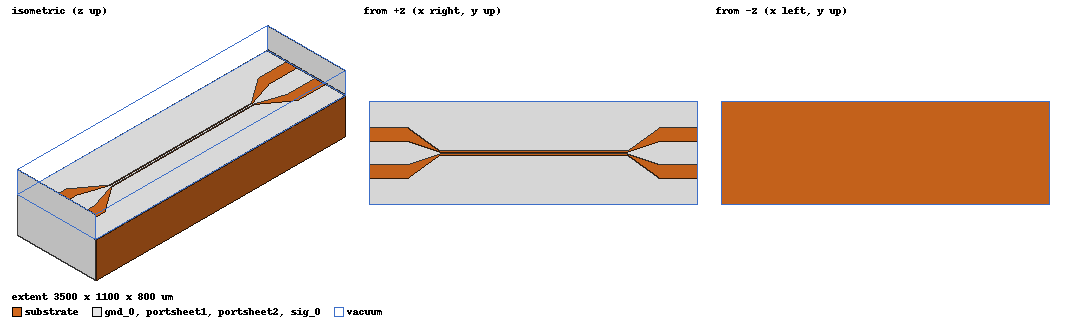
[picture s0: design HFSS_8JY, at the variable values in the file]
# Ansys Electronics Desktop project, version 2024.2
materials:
  vacuum: permittivity=1
  silicon_er1145: permittivity=11.45 permeability=1

design HFSS_8JY (HFSS, HFSS Modal Network, model units um)
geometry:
  substrate [silicon_er1145] = box(corner=(-1750um, -550um, -500um), size=(3500um, 1100um, 500um))
  vacuum [vacuum] = box(corner=(-1750um, -550um, 0um), size=(3500um, 1100um, 300um))
  sig_0 = polyline(z=0um, xy in um: (970, 10) (1000, 10) (1350, 125) (1750, 125) (1750, -125) (1350, -125) (1000, -10) (970, -10) (-970, -10) (-1000, -10) (-1350, -125) (-1750, -125) (-1750, 125) (-1350, 125) (-1000, 10) (-970, 10) (970, 10), closed, covered)
  gnd_0 = polyline(z=0um, xy in um: (-1350, -275) (-1000, -21.5) (1000, -21.5) (1350, -275) (1750, -275) (1750, -550) (-1750, -550) (-1750, -275) (-1350, -275), closed, covered)
  gnd_1 = polyline(z=0um, xy in um: (1350, 275) (1000, 21.5) (-1000, 21.5) (-1350, 275) (-1750, 275) (-1750, 550) (1750, 550) (1750, 275) (1350, 275), closed, covered)
  gnd_0.unite(gnd_1)
  portsheet1 = polyline(x=-1750um, yz in um: (-550, -500) (550, -500) (550, 300) (-550, 300) (-550, -500), closed, covered)
  portsheet2 = polyline(x=1750um, yz in um: (-550, -500) (550, -500) (550, 300) (-550, 300) (-550, -500), closed, covered)
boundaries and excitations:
  PerfE_sig: Perfect E Objects=sig_0
  PerfE_gnd: Perfect E Objects=gnd_0
  PerfE_backplane: Perfect E Faces=substrate.face(-z)
  p1: Wave Port Objects=portsheet1 WavePortType=Modal NumModes=1 Modes{Mode1{IntLine{(-1750, 0, 0) -> (-1750, 136, 0)} CharImp=Zpi}}
  p2: Wave Port Objects=portsheet2 WavePortType=Modal NumModes=1 Modes{Mode1{IntLine{(1750, 0, 0) -> (1750, 136, 0)} CharImp=Zpi}}
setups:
  Setup1: HfssDriven Frequency=8GHz MaxDeltaS=0.02 MaximumPasses=25 MinimumPasses=1 MinimumConvergedPasses=2 PercentRefinement=30 BasisOrder=1 PortAccuracy=2 DrivenSolverType="Direct Solver"
    sweep Sweep1: 6GHz to 10GHz, 41 points; Type=Interpolating InterpTolerance=0.5 InterpMaxSolns=250 InterpUsePortImped=false PassivityErrorTolerance=0.0001
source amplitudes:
  p1:1: 1W 0deg
  p2:1: 0W 0deg
